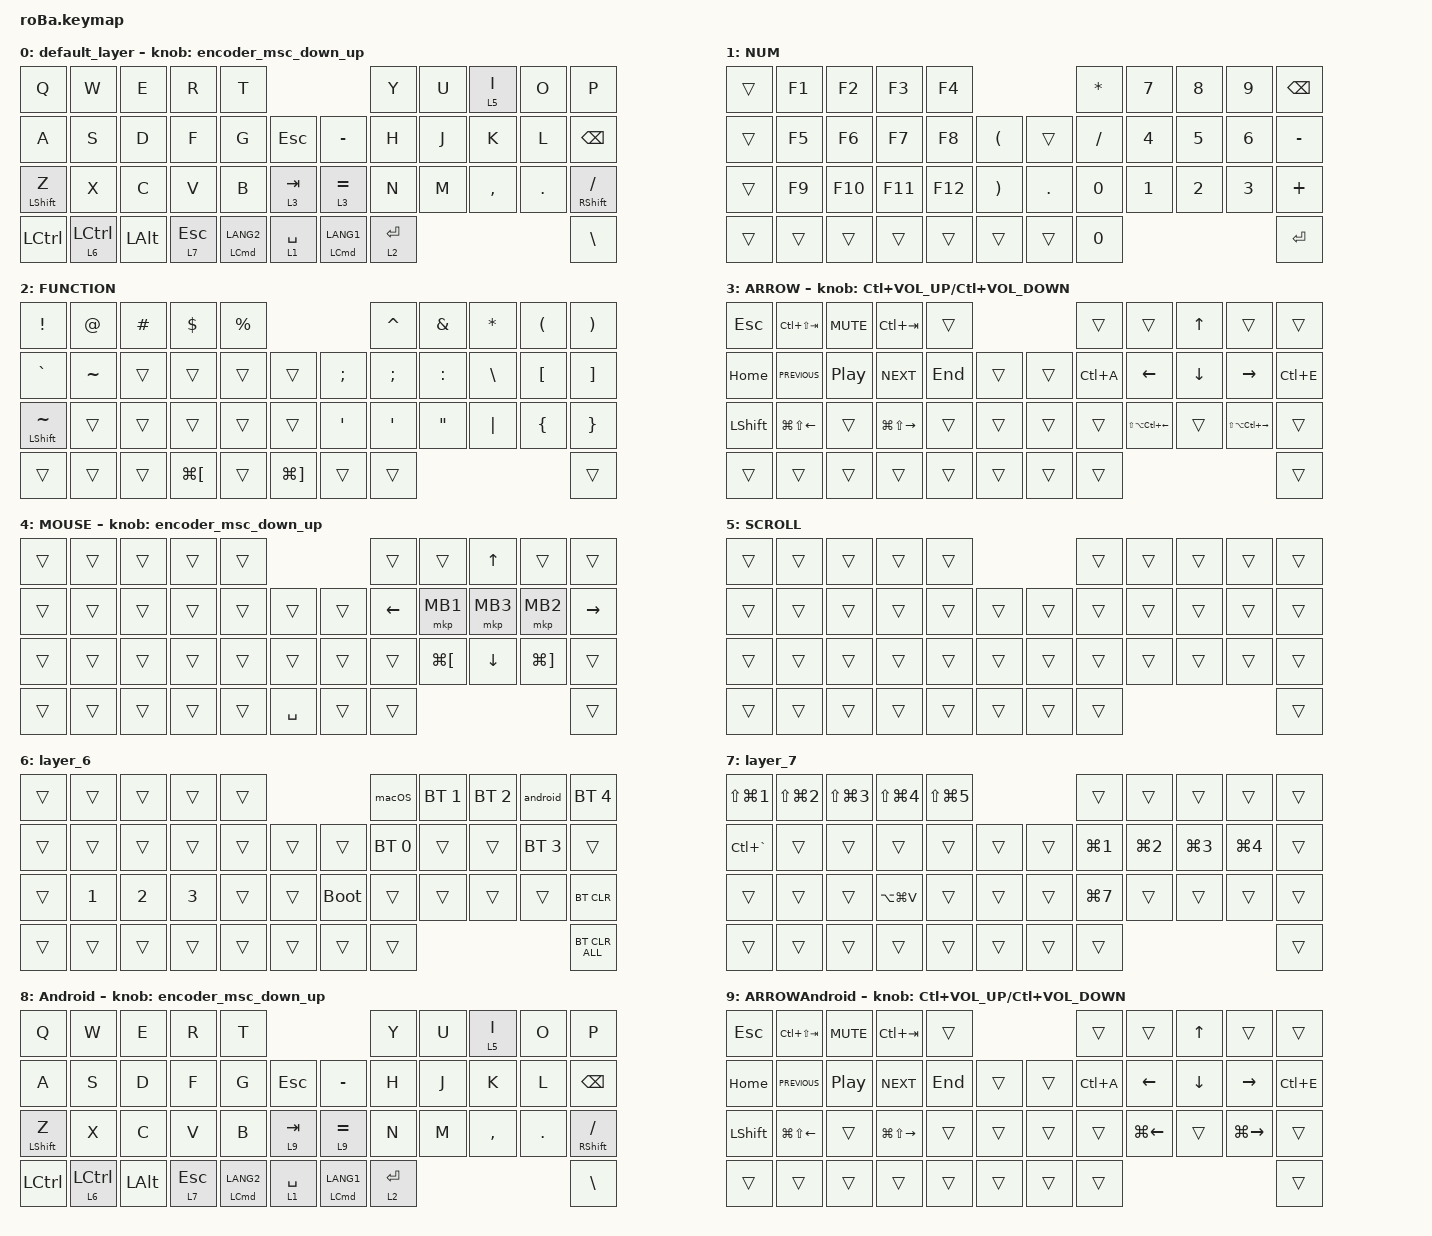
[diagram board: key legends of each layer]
#include <input/processors.dtsi>
#include <behaviors.dtsi>
#include <dt-bindings/zmk/bt.h>
#include <dt-bindings/zmk/keys.h>
#include <dt-bindings/zmk/pointing.h>

#define ZMK_POINTING_DEFAULT_SCRL_VAL 80

&mt {
    flavor = "balanced";
    quick-tap-ms = <0>;
};

&trackball {
    scroll-layers = <5>;

    // arrows {
    //     layers = <3>;
    //     bindings =
    //         <&kp RIGHT_ARROW>,
    //         <&kp LEFT_ARROW>,
    //         <&kp UP_ARROW>,
    //         <&kp DOWN_ARROW>;
    //     tick = <10>;
    //     wait-ms = <5>;
    //     tap-ms = <5>;
    // };
};

&zip_temp_layer {
    excluded-positions = <
        18
        19
        20
        30
        32
    >;
};

// Input ProcessorによるAML設定（マウスレイヤー = 4、タイムアウト10秒）

&trackball_listener { input-processors = <&zip_temp_layer 4 10000>; };

// クリックしてもAMLが継続するようにする

&mkp_input_listener { input-processors = <&zip_temp_layer 4 10000>; };

/ {
    combos {
        compatible = "zmk,combos";

        tab {
            bindings = <&kp TAB>;
            key-positions = <11 12>;
        };

        shift_tab {
            bindings = <&kp LS(TAB)>;
            key-positions = <12 13>;
        };

        muhennkann {
            bindings = <&to_layer_0 INT_MUHENKAN>;
            key-positions = <11 10>;
        };

        double_quotation {
            bindings = <&kp DOUBLE_QUOTES>;
            key-positions = <20 21>;
        };

        eq {
            bindings = <&kp EQUAL>;
            key-positions = <24 25>;
        };

        Scroll {
            bindings = <&mo 5>;
            key-positions = <19 20>;
        };
    };

    macros {
        to_layer_0: to_layer_0 {
            compatible = "zmk,behavior-macro-one-param";
            #binding-cells = <1>;
            bindings = <&to 0 &macro_param_1to1 &kp MACRO_PLACEHOLDER>;
            label = "TO_LAYER_0";
        };

        android: android {
            compatible = "zmk,behavior-macro";
            #binding-cells = <0>;
            bindings = <&bt BT_SEL 3 &to 8>;
            label = "ANDROID";
        };

        macOS: macOS {
            compatible = "zmk,behavior-macro";
            #binding-cells = <0>;
            bindings = <&bt BT_SEL 0 &to 0>;
            label = "MACOS";
        };
    };

    behaviors {
        lt_to_layer_0: lt_to_layer_0 {
            compatible = "zmk,behavior-hold-tap";
            label = "LAYER_TAP_TO_0";
            bindings = <&mo>, <&to_layer_0>;

            #binding-cells = <2>;
            tapping-term-ms = <200>;
        };

        encoder_msc_down_up: encoder_msc_down_up {
            compatible = "zmk,behavior-sensor-rotate";
            label = "ENCODER_MSC_DOWN_UP";
            #sensor-binding-cells = <0>;
            bindings = <&msc SCRL_DOWN>, <&msc SCRL_UP>;

            tap-ms = <20>;
        };
    };

    keymap {
        compatible = "zmk,keymap";

        default_layer {
            bindings = <
&kp Q             &kp W        &kp E         &kp R         &kp T                                                            &kp Y        &kp U  &lt 5 I    &kp O       &kp P
&kp A             &kp S        &kp D         &kp F         &kp G                   &kp ESC          &kp MINUS               &kp H        &kp J  &kp K      &kp L       &kp BACKSPACE
&mt LEFT_SHIFT Z  &kp X        &kp C         &kp V         &kp B                   &lt 3 TAB        &lt 3 EQUAL             &kp N        &kp M  &kp COMMA  &kp PERIOD  &mt RIGHT_SHIFT FSLH
&kp LCTRL         &lt 6 LCTRL  &kp LEFT_ALT  &lt 7 ESCAPE  &mt LEFT_COMMAND LANG2  &lt 1 SPACE      &mt LEFT_COMMAND LANG1  &lt 2 ENTER                                &kp BACKSLASH
            >;

            sensor-bindings = <&encoder_msc_down_up>;
        };

        NUM {
            bindings = <
&trans  &kp F1  &kp F2   &kp F3   &kp F4                                          &kp ASTERISK  &kp NUMBER_7  &kp NUMBER_8  &kp NUMBER_9  &kp BACKSPACE
&trans  &kp F5  &kp F6   &kp F7   &kp F8   &kp LEFT_PARENTHESIS       &trans      &kp SLASH     &kp NUMBER_4  &kp NUMBER_5  &kp NUMBER_6  &kp MINUS
&trans  &kp F9  &kp F10  &kp F11  &kp F12  &kp RIGHT_PARENTHESIS      &kp PERIOD  &kp N0        &kp NUMBER_1  &kp NUMBER_2  &kp NUMBER_3  &kp PLUS
&trans  &trans  &trans   &trans   &trans   &trans                     &trans      &kp N0                                                  &kp ENTER
            >;
        };

        FUNCTION {
            bindings = <
&kp EXCLAMATION       &kp AT_SIGN  &kp HASH  &kp DOLLAR            &kp PERCENT                                            &kp CARET      &kp AMPERSAND      &kp ASTERISK   &kp LEFT_PARENTHESIS  &kp RIGHT_PARENTHESIS
&kp GRAVE             &kp TILDE    &trans    &trans                &trans       &trans                     &kp SEMICOLON  &kp SEMICOLON  &kp COLON          &kp BACKSLASH  &kp LEFT_BRACKET      &kp RIGHT_BRACKET
&mt LEFT_SHIFT TILDE  &trans       &trans    &trans                &trans       &trans                     &kp SQT        &kp SQT        &kp DOUBLE_QUOTES  &kp PIPE       &kp LEFT_BRACE        &kp RIGHT_BRACE
&trans                &trans       &trans    &kp LG(LEFT_BRACKET)  &trans       &kp LG(RIGHT_BRACKET)      &trans         &trans                                                                 &trans
            >;
        };

        ARROW {
            bindings = <
&kp ESCAPE      &kp LC(LS(TAB))         &kp K_MUTE        &kp LC(TAB)              &trans                       &trans     &trans                      &kp UP_ARROW    &trans                       &trans
&kp HOME        &kp C_PREVIOUS          &kp C_PLAY_PAUSE  &kp C_NEXT               &kp END  &trans      &trans  &kp LC(A)  &kp LEFT_ARROW              &kp DOWN_ARROW  &kp RIGHT_ARROW              &kp LC(E)
&kp LEFT_SHIFT  &kp LG(LS(LEFT_ARROW))  &trans            &kp LG(LS(RIGHT_ARROW))  &trans   &trans      &trans  &trans     &kp LS(LA(LC(LEFT_ARROW)))  &trans          &kp LS(LA(LC(RIGHT_ARROW)))  &trans
&trans          &trans                  &trans            &trans                   &trans   &trans      &trans  &trans                                                                              &trans
            >;

            sensor-bindings = <&inc_dec_kp LC(C_VOL_UP) LC(C_VOLUME_DOWN)>;
        };

        MOUSE {
            bindings = <
&trans  &trans  &trans  &trans  &trans                         &trans          &trans                &kp UP_ARROW    &trans                 &trans
&trans  &trans  &trans  &trans  &trans  &trans         &trans  &kp LEFT_ARROW  &mkp MB1              &mkp MB3        &mkp MB2               &kp RIGHT_ARROW
&trans  &trans  &trans  &trans  &trans  &trans         &trans  &trans          &kp LG(LEFT_BRACKET)  &kp DOWN_ARROW  &kp LG(RIGHT_BRACKET)  &trans
&trans  &trans  &trans  &trans  &trans  &kp SPACE      &trans  &trans                                                                       &trans
            >;

            sensor-bindings = <&encoder_msc_down_up>;
        };

        SCROLL {
            bindings = <
&trans  &trans  &trans  &trans  &trans                      &trans  &trans  &trans  &trans  &trans
&trans  &trans  &trans  &trans  &trans  &trans      &trans  &trans  &trans  &trans  &trans  &trans
&trans  &trans  &trans  &trans  &trans  &trans      &trans  &trans  &trans  &trans  &trans  &trans
&trans  &trans  &trans  &trans  &trans  &trans      &trans  &trans                          &trans
            >;
        };

        layer_6 {
            bindings = <
&trans  &trans        &trans        &trans        &trans                           &macOS        &bt BT_SEL 1  &bt BT_SEL 2  &android      &bt BT_SEL 4
&trans  &trans        &trans        &trans        &trans  &trans      &trans       &bt BT_SEL 0  &trans        &trans        &bt BT_SEL 3  &trans
&trans  &kp NUMBER_1  &kp NUMBER_2  &kp NUMBER_3  &trans  &trans      &bootloader  &trans        &trans        &trans        &trans        &bt BT_CLR
&trans  &trans        &trans        &trans        &trans  &trans      &trans       &trans                                                  &bt BT_CLR_ALL
            >;
        };

        layer_7 {
            bindings = <
&kp LS(LG(NUMBER_1))  &kp LS(LG(NUMBER_2))  &kp LS(LG(NUMBER_3))  &kp LS(LG(NUMBER_4))  &kp LS(LG(NUMBER_5))                      &trans            &trans            &trans            &trans            &trans
&kp LC(GRAVE)         &trans                &trans                &trans                &trans                &trans      &trans  &kp LG(NUMBER_1)  &kp LG(NUMBER_2)  &kp LG(NUMBER_3)  &kp LG(NUMBER_4)  &trans
&trans                &trans                &trans                &kp LA(LG(V))         &trans                &trans      &trans  &kp LG(N7)        &trans            &trans            &trans            &trans
&trans                &trans                &trans                &trans                &trans                &trans      &trans  &trans                                                                  &trans
            >;
        };

        Android {
            bindings = <
&kp Q             &kp W        &kp E         &kp R         &kp T                                                            &kp Y        &kp U  &lt 5 I    &kp O       &kp P
&kp A             &kp S        &kp D         &kp F         &kp G                   &kp ESC          &kp MINUS               &kp H        &kp J  &kp K      &kp L       &kp BACKSPACE
&mt LEFT_SHIFT Z  &kp X        &kp C         &kp V         &kp B                   &lt 9 TAB        &lt 9 EQUAL             &kp N        &kp M  &kp COMMA  &kp PERIOD  &mt RIGHT_SHIFT FSLH
&kp LCTRL         &lt 6 LCTRL  &kp LEFT_ALT  &lt 7 ESCAPE  &mt LEFT_COMMAND LANG2  &lt 1 SPACE      &mt LEFT_COMMAND LANG1  &lt 2 ENTER                                &kp BACKSLASH
            >;

            sensor-bindings = <&encoder_msc_down_up>;
        };

        ARROWAndroid {
            bindings = <
&kp ESCAPE      &kp LC(LS(TAB))         &kp K_MUTE        &kp LC(TAB)              &trans                       &trans     &trans              &kp UP_ARROW    &trans               &trans
&kp HOME        &kp C_PREVIOUS          &kp C_PLAY_PAUSE  &kp C_NEXT               &kp END  &trans      &trans  &kp LC(A)  &kp LEFT_ARROW      &kp DOWN_ARROW  &kp RIGHT_ARROW      &kp LC(E)
&kp LEFT_SHIFT  &kp LG(LS(LEFT_ARROW))  &trans            &kp LG(LS(RIGHT_ARROW))  &trans   &trans      &trans  &trans     &kp LG(LEFT_ARROW)  &trans          &kp LG(RIGHT_ARROW)  &trans
&trans          &trans                  &trans            &trans                   &trans   &trans      &trans  &trans                                                              &trans
            >;

            sensor-bindings = <&inc_dec_kp LC(C_VOL_UP) LC(C_VOLUME_DOWN)>;
        };
    };
};
